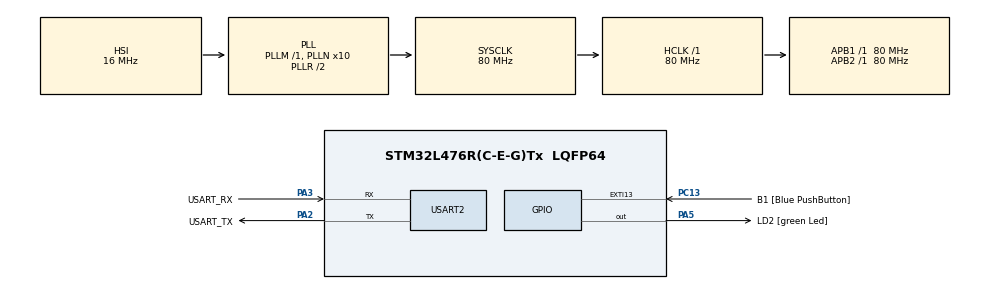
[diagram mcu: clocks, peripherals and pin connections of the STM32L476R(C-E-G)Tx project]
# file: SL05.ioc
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Mcu.Family=STM32L4
Mcu.Name=STM32L476R(C-E-G)Tx
Mcu.Package=LQFP64
NVIC.PriorityGroup=NVIC_PRIORITYGROUP_4
PA13\ (JTMS-SWDIO).GPIO_Label=TMS
PA13\ (JTMS-SWDIO).Mode=Serial_Wire
PA13\ (JTMS-SWDIO).Signal=SYS_JTMS-SWDIO
PA14\ (JTCK-SWCLK).GPIO_Label=TCK
PA14\ (JTCK-SWCLK).Mode=Serial_Wire
PA14\ (JTCK-SWCLK).Signal=SYS_JTCK-SWCLK
PA2.GPIO_Label=USART_TX
PA2.GPIO_Mode=GPIO_MODE_AF_PP
PA2.GPIO_PuPd=GPIO_NOPULL
PA2.GPIO_Speed=GPIO_SPEED_FREQ_VERY_HIGH
PA2.Mode=Asynchronous
PA2.Signal=USART2_TX
PA3.GPIO_Label=USART_RX
PA3.GPIO_Mode=GPIO_MODE_AF_PP
PA3.GPIO_PuPd=GPIO_NOPULL
PA3.GPIO_Speed=GPIO_SPEED_FREQ_VERY_HIGH
PA3.Mode=Asynchronous
PA3.Signal=USART2_RX
PA5.GPIO_Label=LD2 [green Led]
PA5.GPIO_ModeDefaultOutputPP=GPIO_MODE_OUTPUT_PP
PA5.GPIO_PuPd=GPIO_NOPULL
PA5.GPIO_Speed=GPIO_SPEED_FREQ_LOW
PA5.Signal=GPIO_Output
PB3\ (JTDO-TRACESWO).GPIO_Label=SWO
PB3\ (JTDO-TRACESWO).Signal=SYS_JTDO-SWO
PC13.GPIO_Label=B1 [Blue PushButton]
PC13.GPIO_ModeDefaultEXTI=GPIO_MODE_IT_FALLING
PC13.GPIO_PuPd=GPIO_NOPULL
PC13.Signal=GPXTI13
PC14-OSC32_IN\ (PC14).Mode=LSE-External-Oscillator
PC14-OSC32_IN\ (PC14).Signal=RCC_OSC32_IN
PC15-OSC32_OUT\ (PC15).Mode=LSE-External-Oscillator
PC15-OSC32_OUT\ (PC15).Signal=RCC_OSC32_OUT
PH0-OSC_IN\ (PH0).Signal=RCC_OSC_IN
PH1-OSC_OUT\ (PH1).Signal=RCC_OSC_OUT
ProjectManager.HeapSize=0x200
ProjectManager.StackSize=0x400
ProjectManager.TargetToolchain=STM32CubeIDE
RCC.ADCFreq_Value=64000000
RCC.AHBFreq_Value=80000000
RCC.APB1Freq_Value=80000000
RCC.APB1TimFreq_Value=80000000
RCC.APB2Freq_Value=80000000
RCC.APB2TimFreq_Value=80000000
RCC.CortexFreq_Value=80000000
RCC.HCLKFreq_Value=80000000
RCC.HSE_VALUE=8000000
RCC.HSI_VALUE=16000000
RCC.MSI_VALUE=4000000
RCC.PLLN=10
RCC.PLLSourceVirtual=RCC_PLLSOURCE_HSI
RCC.PREFETCH_ENABLE=1
RCC.SYSCLKFreq_VALUE=80000000
RCC.SYSCLKSource=RCC_SYSCLKSOURCE_PLLCLK
RCC.USBFreq_Value=64000000
RCC.VCOOutputFreq_Value=160000000
USART2.VirtualMode-Asynchronous=VM_ASYNC
VP_RTC_VS_RTC_Activate.Mode=RTC_Enabled
VP_RTC_VS_RTC_WakeUp_intern.Mode=WakeUp
board=NUCLEO-L476RG

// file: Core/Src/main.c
/* USER CODE BEGIN Header */
/**
  ******************************************************************************
  * @file           : main.c
  * @brief          : Main program body
  ******************************************************************************
  * @attention
  *
  * Copyright (c) 2023 STMicroelectronics.
  * All rights reserved.
  *
  * This software is licensed under terms that can be found in the LICENSE file
  * in the root directory of this software component.
  * If no LICENSE file comes with this software, it is provided AS-IS.
  *
  ******************************************************************************
  */
/* USER CODE END Header */
#include "main.h"

/* USER CODE BEGIN Includes */
#include "stdio.h"
/* USER CODE END Includes */

/* USER CODE BEGIN PD */
#define ACTIVATE_RDP 1
#define USE_STANDBY 1
/* USER CODE END PD */

RTC_HandleTypeDef hrtc;

UART_HandleTypeDef huart2;

void SystemClock_Config(void);
static void MX_GPIO_Init(void);
static void MX_USART2_UART_Init(void);
static void MX_RTC_Init(void);
/* USER CODE BEGIN PFP */
int __io_putchar(int ch)
{
	/* Place your implementation of fputc here */
	/* e.g. write a character to the USART1 and Loop until the end of transmission  */
	HAL_UART_Transmit(&huart2, (uint8_t *)&ch, 1, 0xFFFF);

	return ch;

}
/* USER CODE END PFP */

int main(void)
{

  /* MCU Configuration--------------------------------------------------------*/

  /* Reset of all peripherals, Initializes the Flash interface and the Systick. */
  HAL_Init();

  /* USER CODE BEGIN Init */
  HAL_DBGMCU_DisableDBGStandbyMode();

  /* USER CODE END Init */

  /* Configure the system clock */
  SystemClock_Config();

  /* Initialize all configured peripherals */
  MX_GPIO_Init();
  MX_USART2_UART_Init();
  MX_RTC_Init();
  /* USER CODE BEGIN 2 */
  printf("\r\n**********************************\r\n");
   printf("\r\n* Appli started *\r\n");
   printf("\r\n**********************************\r\n");

   #ifdef ACTIVATE_RDP
   	   if(HAL_FLASH_Unlock() == HAL_OK) {
   		   if (HAL_FLASH_OB_Unlock() == HAL_OK) {
   			   	   FLASH_OBProgramInitTypeDef pOBInit;
   			   	   HAL_FLASHEx_OBGetConfig(&pOBInit);

   			   	   if (pOBInit.RDPLevel != OB_RDP_LEVEL_1) {
   			   		   printf("\r\n*--------> RDP Level 0 \r\n");
   			   		   pOBInit.OptionType = OPTIONBYTE_RDP;
   			   		   pOBInit.RDPLevel = OB_RDP_LEVEL_1;
   			   		   HAL_FLASHEx_OBProgram(&pOBInit);
#ifndef USE_STANDBY
 			   		   printf("\r\n*--------> HAL_FLASH_OB_Launch \r\n");
 			   		   HAL_FLASH_OB_Launch();
 			   		   printf("\r\n*--------> HAL_FLASH_OB_Launch finished\r\n");

  #else
   	   	   	   	   	   __HAL_RCC_PWR_CLK_ENABLE();
 			   		   HAL_RTCEx_DeactivateWakeUpTimer(&hrtc);
 			   		   HAL_RTCEx_SetWakeUpTimer_IT(&hrtc, 36,RTC_WAKEUPCLOCK_RTCCLK_DIV16);
 			   		   __HAL_PWR_CLEAR_FLAG(PWR_FLAG_WU);
 			   		   printf("\r\n*--------> Go to standby \r\n");
 			   		HAL_PWR_EnterSTANDBYMode();
 			   		printf("\r\n*--------> RTC wakeup \r\n");
 #endif
 			   		 } else {
 			   			 	 printf("\r\n*--------> RDP Level 1 \r\n");
 			   		 }
 			   		 HAL_FLASH_OB_Lock();
 			   	}
 			HAL_FLASH_Lock();
 	}
 #endif

  /* USER CODE END 2 */

  /* Infinite loop */
  while (1)
  {

    /* USER CODE BEGIN 3 */
	  HAL_GPIO_TogglePin(LD2_GPIO_Port, LD2_Pin);
	  printf("\r\n*--------> LED blinking \r\n");
	  HAL_Delay(500);
	  if (HAL_GPIO_ReadPin(B1_GPIO_Port, B1_Pin) == GPIO_PIN_RESET)
	  {
		  if(HAL_FLASH_Unlock() == HAL_OK) {
			  if (HAL_FLASH_OB_Unlock() == HAL_OK) {
				   FLASH_OBProgramInitTypeDef pOBInit;
				   HAL_FLASHEx_OBGetConfig(&pOBInit);

				   if (pOBInit.RDPLevel != OB_RDP_LEVEL_1) {
						   pOBInit.OptionType = OPTIONBYTE_RDP;
						   pOBInit.RDPLevel = OB_RDP_LEVEL_1;
						   HAL_FLASHEx_OBProgram(&pOBInit);
						   HAL_FLASH_OB_Launch();
				   }
				   HAL_FLASH_OB_Lock();
	   }
	 HAL_FLASH_Lock();
	   }
	  }
  }
  /* USER CODE END 3 */
}

void SystemClock_Config(void)
{
  RCC_OscInitTypeDef RCC_OscInitStruct = {0};
  RCC_ClkInitTypeDef RCC_ClkInitStruct = {0};

  /** Configure the main internal regulator output voltage
  */
  if (HAL_PWREx_ControlVoltageScaling(PWR_REGULATOR_VOLTAGE_SCALE1) != HAL_OK)
  {
    Error_Handler();
  }

  /** Initializes the RCC Oscillators according to the specified parameters
  * in the RCC_OscInitTypeDef structure.
  */
  RCC_OscInitStruct.OscillatorType = RCC_OSCILLATORTYPE_HSI|RCC_OSCILLATORTYPE_LSI;
  RCC_OscInitStruct.HSIState = RCC_HSI_ON;
  RCC_OscInitStruct.HSICalibrationValue = RCC_HSICALIBRATION_DEFAULT;
  RCC_OscInitStruct.LSIState = RCC_LSI_ON;
  RCC_OscInitStruct.PLL.PLLState = RCC_PLL_ON;
  RCC_OscInitStruct.PLL.PLLSource = RCC_PLLSOURCE_HSI;
  RCC_OscInitStruct.PLL.PLLM = 1;
  RCC_OscInitStruct.PLL.PLLN = 10;
  RCC_OscInitStruct.PLL.PLLP = RCC_PLLP_DIV7;
  RCC_OscInitStruct.PLL.PLLQ = RCC_PLLQ_DIV2;
  RCC_OscInitStruct.PLL.PLLR = RCC_PLLR_DIV2;
  if (HAL_RCC_OscConfig(&RCC_OscInitStruct) != HAL_OK)
  {
    Error_Handler();
  }

  /** Initializes the CPU, AHB and APB buses clocks
  */
  RCC_ClkInitStruct.ClockType = RCC_CLOCKTYPE_HCLK|RCC_CLOCKTYPE_SYSCLK
                              |RCC_CLOCKTYPE_PCLK1|RCC_CLOCKTYPE_PCLK2;
  RCC_ClkInitStruct.SYSCLKSource = RCC_SYSCLKSOURCE_PLLCLK;
  RCC_ClkInitStruct.AHBCLKDivider = RCC_SYSCLK_DIV1;
  RCC_ClkInitStruct.APB1CLKDivider = RCC_HCLK_DIV1;
  RCC_ClkInitStruct.APB2CLKDivider = RCC_HCLK_DIV1;

  if (HAL_RCC_ClockConfig(&RCC_ClkInitStruct, FLASH_LATENCY_4) != HAL_OK)
  {
    Error_Handler();
  }
}

static void MX_RTC_Init(void)
{

  /** Initialize RTC Only
  */
  hrtc.Instance = RTC;
  hrtc.Init.HourFormat = RTC_HOURFORMAT_24;
  hrtc.Init.AsynchPrediv = 127;
  hrtc.Init.SynchPrediv = 255;
  hrtc.Init.OutPut = RTC_OUTPUT_DISABLE;
  hrtc.Init.OutPutRemap = RTC_OUTPUT_REMAP_NONE;
  hrtc.Init.OutPutPolarity = RTC_OUTPUT_POLARITY_HIGH;
  hrtc.Init.OutPutType = RTC_OUTPUT_TYPE_OPENDRAIN;
  if (HAL_RTC_Init(&hrtc) != HAL_OK)
  {
    Error_Handler();
  }

}

static void MX_USART2_UART_Init(void)
{

  huart2.Instance = USART2;
  huart2.Init.BaudRate = 115200;
  huart2.Init.WordLength = UART_WORDLENGTH_8B;
  huart2.Init.StopBits = UART_STOPBITS_1;
  huart2.Init.Parity = UART_PARITY_NONE;
  huart2.Init.Mode = UART_MODE_TX_RX;
  huart2.Init.HwFlowCtl = UART_HWCONTROL_NONE;
  huart2.Init.OverSampling = UART_OVERSAMPLING_16;
  huart2.Init.OneBitSampling = UART_ONE_BIT_SAMPLE_DISABLE;
  huart2.AdvancedInit.AdvFeatureInit = UART_ADVFEATURE_NO_INIT;
  if (HAL_UART_Init(&huart2) != HAL_OK)
  {
    Error_Handler();
  }

}

static void MX_GPIO_Init(void)
{
  GPIO_InitTypeDef GPIO_InitStruct = {0};

  /* GPIO Ports Clock Enable */
  __HAL_RCC_GPIOC_CLK_ENABLE();
  __HAL_RCC_GPIOH_CLK_ENABLE();
  __HAL_RCC_GPIOA_CLK_ENABLE();
  __HAL_RCC_GPIOB_CLK_ENABLE();

  /*Configure GPIO pin Output Level */
  HAL_GPIO_WritePin(LD2_GPIO_Port, LD2_Pin, GPIO_PIN_RESET);

  /*Configure GPIO pin : B1_Pin */
  GPIO_InitStruct.Pin = B1_Pin;
  GPIO_InitStruct.Mode = GPIO_MODE_IT_FALLING;
  GPIO_InitStruct.Pull = GPIO_NOPULL;
  HAL_GPIO_Init(B1_GPIO_Port, &GPIO_InitStruct);

  /*Configure GPIO pin : LD2_Pin */
  GPIO_InitStruct.Pin = LD2_Pin;
  GPIO_InitStruct.Mode = GPIO_MODE_OUTPUT_PP;
  GPIO_InitStruct.Pull = GPIO_NOPULL;
  GPIO_InitStruct.Speed = GPIO_SPEED_FREQ_LOW;
  HAL_GPIO_Init(LD2_GPIO_Port, &GPIO_InitStruct);

}

void Error_Handler(void)
{
  __disable_irq();
  while (1)
  {
  }
}
